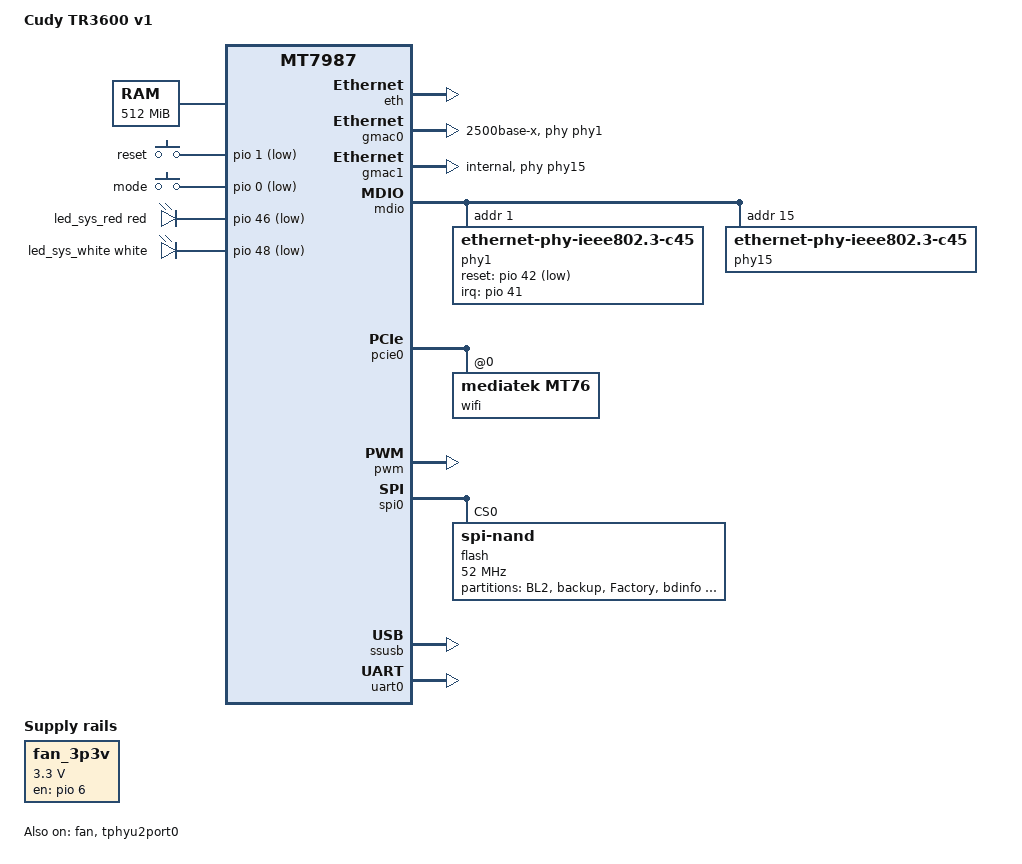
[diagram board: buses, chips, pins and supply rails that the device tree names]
// SPDX-License-Identifier: (GPL-2.0-or-later OR MIT)
/*
 * Unified OpenWrt 25.12 DTS for Cudy TR3600 v1 (MT7987B + MT7990 Wi-Fi 7)
 * Combines:
 *  - OpenWrt PR #24596 (512 MiB memory, fan_3p3v GPIO6 regulator, &eth, partitions)
 *  - OpenWrt PR #25860 (PWM0 fan channel, red/white LEDs, MAC layout)
 *  - OpenWrt PR #25996 (RTL8221B WAN PHY eee-broken-100tx/1000t fix for 6.12)
 *  - Community verified tuning (68/78/88C silent fan curve, pci=noaer, USB2 stability)
 */

/dts-v1/;
#include <dt-bindings/gpio/gpio.h>
#include <dt-bindings/input/input.h>
#include <dt-bindings/leds/common.h>

#include "mt7987b.dtsi"

/ {
	model = "Cudy TR3600 v1";
	compatible = "cudy,tr3600-v1", "mediatek,mt7987b", "mediatek,mt7987";

	aliases {
		serial0 = &uart0;
		label-mac-device = &gmac1;
		led-boot = &led_sys_red;
		led-failsafe = &led_sys_red;
		led-running = &led_sys_white;
		led-upgrade = &led_sys_white;
	};

	chosen {
		stdout-path = "serial0:115200n8";
		bootargs = "console=ttyS0,115200n1 earlycon=uart8250,mmio32,0x11000000 pci=pcie_bus_perf pci=noaer";
	};

	/* Cudy TR3600 v1 has 512 MiB DDR4 at 0x40000000 */
	memory {
		device_type = "memory";
		reg = <0 0x40000000 0 0x20000000>;
	};

	gpio-keys {
		compatible = "gpio-keys";

		button-reset {
			label = "reset";
			linux,code = <KEY_RESTART>;
			gpios = <&pio 1 GPIO_ACTIVE_LOW>;
			debounce-interval = <10>;
		};

		button-mode {
			label = "mode";
			linux,code = <BTN_0>;
			linux,input-type = <EV_SW>;
			gpios = <&pio 0 GPIO_ACTIVE_LOW>;
			debounce-interval = <10>;
		};
	};

	gpio-leds {
		compatible = "gpio-leds";

		led_sys_red: led-0 {
			function = LED_FUNCTION_STATUS;
			color = <LED_COLOR_ID_RED>;
			gpios = <&pio 46 GPIO_ACTIVE_LOW>;
		};

		led_sys_white: led-1 {
			function = LED_FUNCTION_STATUS;
			color = <LED_COLOR_ID_WHITE>;
			gpios = <&pio 48 GPIO_ACTIVE_LOW>;
		};
	};

	fan_3p3v: regulator-fan-3p3v {
		compatible = "regulator-fixed";
		enable-active-high;
		gpios = <&pio 6 GPIO_ACTIVE_HIGH>;
		regulator-name = "fan";
		regulator-min-microvolt = <3300000>;
		regulator-max-microvolt = <3300000>;
	};
};

&eth {
	status = "okay";
};

&fan {
	fan-supply = <&fan_3p3v>;
	pwms = <&pwm 0 50000 0>;
	cooling-levels = <0 128 200 255>;
	status = "okay";
};

&cpu_thermal {
	trips {
		cpu_trip_active_low: active-low {
			temperature = <68000>;
			hysteresis = <5000>;
		};

		cpu_trip_active_med: active-med {
			temperature = <78000>;
			hysteresis = <5000>;
		};

		cpu_trip_active_high: active-high {
			temperature = <88000>;
			hysteresis = <5000>;
		};
	};
};

&gmac0 {
	nvmem-cell-names = "mac-address";
	nvmem-cells = <&macaddr_bdinfo_de00 1>;
	phy-mode = "2500base-x";
	phy-handle = <&phy1>;
	status = "okay";
};

&gmac1 {
	nvmem-cell-names = "mac-address";
	nvmem-cells = <&macaddr_bdinfo_de00 0>;
	phy-mode = "internal";
	phy-handle = <&phy15>;
	status = "okay";
};

&mdio {
	phy1: phy@1 {
		compatible = "ethernet-phy-ieee802.3-c45";
		reg = <1>;
		reset-assert-us = <100000>;
		reset-deassert-us = <100000>;
		reset-gpios = <&pio 42 GPIO_ACTIVE_LOW>;
		interrupts = <41 IRQ_TYPE_LEVEL_LOW>;
		interrupt-parent = <&pio>;
		/* PR #25996: fixes ~41% packet loss on 1G/100M WAN links */
		eee-broken-100tx;
		eee-broken-1000t;
	};

	phy15: phy@15 {
		compatible = "ethernet-phy-ieee802.3-c45";
		reg = <15>;
	};
};

&pcie0 {
	pinctrl-names = "default";
	pinctrl-0 = <&pcie0_pins>;
	status = "okay";

	pcie@0,0 {
		reg = <0x0000 0 0 0 0>;
		device_type = "pci";
		#address-cells = <3>;
		#size-cells = <2>;

		wifi@0,0 {
			compatible = "mediatek,mt76";
			reg = <0x0000 0 0 0 0>;

			nvmem-cells = <&eeprom_factory_0>;
			nvmem-cell-names = "eeprom";

			#address-cells = <1>;
			#size-cells = <0>;

			band@0 {
				reg = <0>;
				nvmem-cells = <&macaddr_bdinfo_de00 0>;
				nvmem-cell-names = "mac-address";
			};

			band@1 {
				reg = <1>;
				nvmem-cells = <&macaddr_bdinfo_de00 2>;
				nvmem-cell-names = "mac-address";
			};
		};
	};
};

&pwm {
	pinctrl-names = "default";
	pinctrl-0 = <&pwm_pins>;
	status = "okay";
};

&spi0 {
	pinctrl-names = "default";
	pinctrl-0 = <&spi0_flash_pins>;
	status = "okay";

	flash@0 {
		compatible = "spi-nand";
		reg = <0>;

		spi-max-frequency = <52000000>;
		spi-tx-bus-width = <4>;
		spi-rx-bus-width = <4>;

		mediatek,nmbm;
		mediatek,bmt-max-ratio = <1>;
		mediatek,bmt-max-reserved-blocks = <64>;

		partitions {
			compatible = "fixed-partitions";
			#address-cells = <1>;
			#size-cells = <1>;

			partition@0 {
				label = "BL2";
				reg = <0x000000 0x0100000>;
				read-only;
			};

			partition@100000 {
				label = "backup";
				reg = <0x100000 0x0080000>;
			};

			partition@180000 {
				label = "Factory";
				reg = <0x180000 0x0400000>;
				read-only;

				nvmem-layout {
					compatible = "fixed-layout";
					#address-cells = <1>;
					#size-cells = <1>;

					eeprom_factory_0: eeprom@0 {
						reg = <0x0 0x1e00>;
					};
				};
			};

			partition@580000 {
				label = "bdinfo";
				reg = <0x580000 0x0040000>;
				read-only;

				nvmem-layout {
					compatible = "fixed-layout";
					#address-cells = <1>;
					#size-cells = <1>;

					macaddr_bdinfo_de00: macaddr@de00 {
						compatible = "mac-base";
						reg = <0xde00 0x6>;
						#nvmem-cell-cells = <1>;
					};
				};
			};

			partition@5c0000 {
				label = "FIP";
				reg = <0x5c0000 0x0200000>;
				read-only;
			};

			partition@7c0000 {
				label = "ubi";
				reg = <0x7c0000 0xe840000>;
				compatible = "linux,ubi";
			};
		};
	};
};

&ssusb {
	status = "okay";
	mediatek,u3p-dis-msk = <0x1>;
};

&tphyu2port0 {
	status = "okay";
};

&tphyu3port0 {
	status = "disabled";
};

&uart0 {
	pinctrl-names = "default";
	pinctrl-0 = <&uart0_pins>;
	status = "okay";
};
